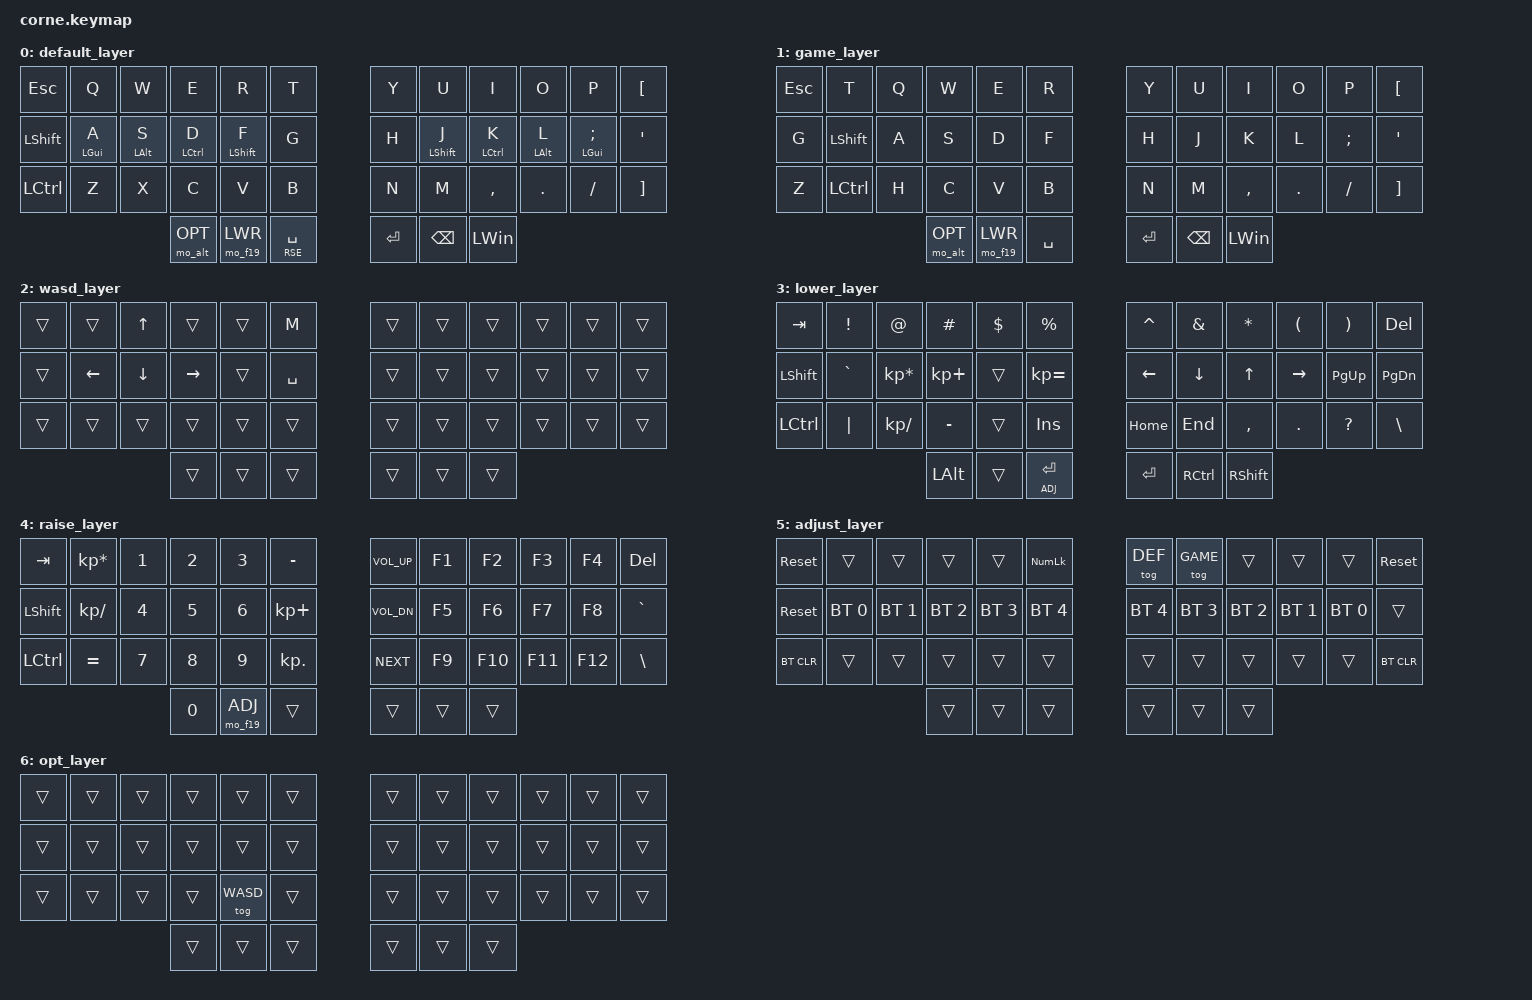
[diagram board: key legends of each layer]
/*
 * Copyright (c) 2020 The ZMK Contributors
 *
 * SPDX-License-Identifier: MIT
 */

#include <behaviors.dtsi>
#include <dt-bindings/zmk/keys.h>
#include <dt-bindings/zmk/bt.h>
#include <dt-bindings/zmk/rgb.h>

#define DEF 0
#define GAME 1
#define WASD 2
#define LWR 3
#define RSE 4
#define ADJ 5
#define OPT 6

&lt { quick_tap_ms = <200>; };
&mt { quick_tap_ms = <200>; };

/ {
    behaviors {
        hm: homerow_mods {
            compatible = "zmk,behavior-hold-tap";
            label = "HOMEROW_MODS";
            #binding-cells = <2>;
            tapping-term-ms = <200>;
            quick_tap_ms = <0>;
            flavor = "tap-preferred";
            bindings = <&kp>, <&kp>;
        };

        // Momentary layer that also holds F19 / F18 while the key is down,
        // so the web viewer (viewer/index.html) can see which thumb layer key is held.
        // Not F20: on Linux xkb maps it to XF86AudioMicMute, which the desktop grabs.
        mo_f19: mo_f19 {
            compatible = "zmk,behavior-macro-one-param";
            #binding-cells = <1>;
            wait-ms = <0>;
            tap-ms = <0>;
            bindings
                = <&macro_param_1to1>
                , <&macro_press &mo MACRO_PLACEHOLDER>
                , <&macro_press &kp F19>
                , <&macro_pause_for_release>
                , <&macro_release &kp F19>
                , <&macro_param_1to1>
                , <&macro_release &mo MACRO_PLACEHOLDER>
                ;
        };
        mo_f18: mo_f18 {
            compatible = "zmk,behavior-macro-one-param";
            #binding-cells = <1>;
            wait-ms = <0>;
            tap-ms = <0>;
            bindings
                = <&macro_param_1to1>
                , <&macro_press &mo MACRO_PLACEHOLDER>
                , <&macro_press &kp F18>
                , <&macro_pause_for_release>
                , <&macro_release &kp F18>
                , <&macro_param_1to1>
                , <&macro_release &mo MACRO_PLACEHOLDER>
                ;
        };

        // Thumb Opt: holds LALT and, while held, the OPT layer (there V toggles WASD)
        mo_alt: mo_alt {
            compatible = "zmk,behavior-macro-one-param";
            #binding-cells = <1>;
            wait-ms = <0>;
            tap-ms = <0>;
            bindings
                = <&macro_param_1to1>
                , <&macro_press &mo MACRO_PLACEHOLDER>
                , <&macro_press &kp LALT>
                , <&macro_pause_for_release>
                , <&macro_release &kp LALT>
                , <&macro_param_1to1>
                , <&macro_release &mo MACRO_PLACEHOLDER>
                ;
        };

        // Same as &lt (tap-preferred, 200 ms), but the hold side is &mo_f18
        lt_f18: layer_tap_f18 {
            compatible = "zmk,behavior-hold-tap";
            #binding-cells = <2>;
            tapping-term-ms = <200>;
            flavor = "tap-preferred";
            bindings = <&mo_f18>, <&kp>;
        };
    };
};

/ {
    combos {
        compatible = "zmk,combos";
        combo_F2 {
            timeout-ms = <50>;
            layers = <DEF GAME LWR RSE ADJ>;
            key-positions = <0 1>;
            bindings = <&kp F2>;
        };
        combo_ENTER {
            timeout-ms = <50>;
            layers = <DEF GAME LWR RSE ADJ>;
            key-positions = <3 4>;
            bindings = <&kp ENTER>;
        };
         combo_BS {
            timeout-ms = <50>;
            layers = <DEF GAME LWR RSE ADJ>;
            key-positions = <4 5>;
            bindings = <&kp BSPC>;
        };
        combo_Del {
            timeout-ms = <50>;
            layers = <DEF GAME LWR RSE ADJ>;
            key-positions = <28 29>;
            bindings = <&kp DEL>;
        };
        // Ctrl + Z + X + C → Cmd+Shift+4 (macOS area screenshot)
        combo_SCREENSHOT {
            timeout-ms = <80>;
            layers = <DEF GAME LWR RSE ADJ>;
            key-positions = <24 25 26 27>;
            bindings = <&kp LG(LS(N4))>;
        };
    };
};


/ {
        keymap {
                compatible = "zmk,keymap";

                default_layer {
// .-------------------------------------------------------.       .-----------------------------------------------------------.
// |  ESC  |    Q    |    W   |   E    |    R    |    T    |       |   Y   |    U    |    I    |    O    |     P    |     [    |
// |-------+---------+--------+--------+---------+---------|       |-------+---------+---------+---------+----------+----------|
// |  SHFT |    A    |    S   |   D    |    F    |    G    |       |   H   |    J    |    K    |    L    |     ;    |     '    |
// |-------+---------+--------+--------+---------+---------|       |-------+---------+---------+---------+----------+----------|
// |  CTRL |    Z    |    X   |   C    |    V    |    B    |       |   N   |    M    |    ,    |    .    |     /    |     ]    |
// '--------------------------+--------+---------+---------+       |-------+---------+---------+-------------------------------'
//                            |  ALT   |   LWR   | RSE/SPC |       |  RET  |   BKSP  |   GUI   |
//                            '--------+---------+---------'       '-------+---------+---------'
                        bindings = <
     &kp ESC    &kp Q       &kp W       &kp E        &kp R        &kp T          &kp Y      &kp U        &kp I        &kp O       &kp P          &kp LBKT
     &kp LSHFT  &hm LGUI A  &hm LALT S  &hm LCTRL D  &hm LSHFT F  &kp G          &kp H      &hm LSHFT J  &hm LCTRL K  &hm LALT L  &hm LGUI SEMI  &kp SQT
     &kp LCTRL  &kp Z       &kp X       &kp C        &kp V        &kp B          &kp N      &kp M        &kp COMMA    &kp DOT     &kp FSLH       &kp RBKT
                            &mo_alt OPT &mo_f19 LWR  &lt_f18 RSE SPACE               &kp ENTER  &kp BSPC     &kp LWIN
                        >;
                };


                game_layer {
// .-------------------------------------------------------.       .-----------------------------------------------------------.
// |  ESC  |    T    |    Q   |   W    |    E    |    R    |       |   Y   |    U    |    I    |    O    |     P    |     [    |
// |-------+---------+--------+--------+---------+---------|       |-------+---------+---------+---------+----------+----------|
// |   G   |   SHFT  |    A   |   S    |    D    |    F    |       |   H   |    J    |    K    |    L    |     ;    |     '    |
// |-------+---------+--------+--------+---------+---------|       |-------+---------+---------+---------+----------+----------|
// |   Z   |   CTRL  |    H   |   C    |    V    |    B    |       |   N   |    M    |    ,    |    .    |     /    |     ]    |
// '--------------------------+--------+---------+---------+       |-------+---------+---------+-------------------------------'
//                            |  ALT   |   LWR   |   SPC   |       |  RET  |   BKSP  |   GUI   |
//                            '--------+---------+---------'       '-------+---------+---------'
                        bindings = <
     &kp ESC  &kp T      &kp Q     &kp W    &kp E   &kp R          &kp Y      &kp U     &kp I      &kp O    &kp P     &kp LBKT
     &kp G    &kp LSHFT  &kp A     &kp S    &kp D   &kp F          &kp H      &kp J     &kp K      &kp L    &kp SEMI  &kp SQT
     &kp Z    &kp LCTRL  &kp H     &kp C    &kp V   &kp B          &kp N      &kp M     &kp COMMA  &kp DOT  &kp FSLH  &kp RBKT
                         &mo_alt OPT  &mo_f19 LWR  &kp SPACE              &kp ENTER  &kp BSPC  &kp LWIN
                        >;
                };


                wasd_layer {
// Opt+V toggles this layer: left-hand-only games.
// .-------------------------------------------------------.
// |       |         |   UP   |        |         |    M    |
// |-------+---------+--------+--------+---------+---------|
// |       |  LEFT   |  DOWN  | RIGHT  |         |  SPACE  |
// |-------+---------+--------+--------+---------+---------|
// |       |         |        |        |         |         |
// '--------------------------+--------+---------+---------+
                        bindings = <
     &trans  &trans     &kp UP     &trans     &trans  &kp M            &trans  &trans  &trans  &trans  &trans  &trans
     &trans  &kp LEFT   &kp DOWN   &kp RIGHT  &trans  &kp SPACE        &trans  &trans  &trans  &trans  &trans  &trans
     &trans  &trans     &trans     &trans     &trans  &trans           &trans  &trans  &trans  &trans  &trans  &trans
                                   &trans     &trans  &trans           &trans  &trans  &trans
                        >;
                };


                lower_layer {
// .----------------------------------------------------------.        .-----------------------------------------------------.
// |    TAB    |   !    |   @    |   #    |    $    |    %     |       |    ^   |    &   |    *    |    (   |    )   |  DEL  |
// |-----------+--------+--------+--------+---------+----------|       |--------+--------+---------+--------+--------+-------|
// |   SHFT    |    ~   |    *   |   +    |         |     =    |       |  left  |  down  |    up   |  right |   pu   |  pd   |
// |-----------+--------+--------+--------+---------+----------|       |--------+--------+---------+--------+--------+-------|
// |   CTRL    |    |   |    /   |   -    |         |  insert  |       |  home  |  end   |    ,    |    .   |    ?   |   \   |
// '-----------------------------+--------+---------+----------+       |--------+--------+---------+-------------------------'
//                               |  ALT   |         |ADJ_ENTER |       |   RET  |  CTRL  |  SHIFT  |
//                               '--------+---------+----------'       '--------+--------+---------'

                        bindings = <
   &kp TAB     &kp EXCLAMATION   &kp AT            &kp HASH     &kp DOLLAR  &kp PERCENT        &kp CARET   &kp AMPS     &kp STAR     &kp LPAR    &kp RPAR       &kp DEL
   &kp LSHFT   &kp GRAVE         &kp KP_MULTIPLY   &kp KP_PLUS  &trans      &kp KP_EQUAL       &kp LEFT    &kp DOWN     &kp UP       &kp RIGHT   &kp PG_UP      &kp PG_DN
   &kp LCTRL   &kp PIPE          &kp KP_DIVIDE     &kp MINUS    &trans      &kp INSERT         &kp HOME    &kp END      &kp COMMA    &kp PERIOD  &kp QUESTION   &kp BSLH
                                                   &kp LALT     &trans      &lt_f18 ADJ ENTER      &kp ENTER   &kp RCTRL    &kp RSHIFT
                        >;
                };


                  raise_layer {
// .------------------------------------------------------.       .-----------------------------------------------------.
// |   TAB   |    *   |    1   |    2   |    3   |    -   |       | vol up |   F1   |   F2   |   F3   |   F4   |   DEL  |
// |---------+--------+--------+--------+--------+--------|       |--------+--------+--------+--------+--------+--------|
// |   SHFT  |    /   |    4   |    5   |    6   |    +   |       | vol dn |   F5   |   F6   |   F7   |   F8   |    ~   |
// |---------+--------+--------+--------+--------+--------|       |--------+--------+--------+--------+--------+--------|
// |   CTRL  |    =   |    7   |    8   |    9   |    .   |       |  next  |   F9   |   F10  |   F11  |   F12  |    \   |
// '---------------------------+--------+--------+--------+       |-------+---------+--------+--------------------------'
//                             |    0   |   ADJ  |        |       |        |        |        |
//                             '--------+--------+--------'       '--------+--------+--------'
                        bindings = <
   &kp TAB    &kp KP_ASTERISK &kp N1 &kp N2 &kp N3 &kp MINUS           &kp C_VOL_UP &kp F1  &kp F2  &kp F3  &kp F4  &kp DEL
   &kp LSHFT  &kp KP_SLASH    &kp N4 &kp N5 &kp N6 &kp KP_PLUS         &kp C_VOL_DN &kp F5  &kp F6  &kp F7  &kp F8  &kp GRAVE
   &kp LCTRL  &kp EQUAL       &kp N7 &kp N8 &kp N9 &kp KP_DOT          &kp C_NEXT &kp F9  &kp F10 &kp F11 &kp F12 &kp BSLH
                              &kp N0        &mo_f19 ADJ   &trans           &trans &trans  &trans
                        >;
                };


                adjust_layer {
// .--------------------------------------------------------.       .------------------------------------------------------.
// |  reset  |        |        |        |         |  KP_NUM |       |  DEF   |  GAME  |        |        |        |  reset  |
// |---------+--------+--------+--------+---------+---------|       |--------+--------+--------+--------+--------+---------|
// |         |  BT1   |  BT2   |  BT3   |  BT4    |  BT5    |       |  BT5   |  BT4   |  BT3   |  BT2   |  BT1   |         |
// |---------+--------+--------+--------+---------+---------|       |--------+--------+--------+--------+--------+---------|
// |  BTCLR  |        |        |        |         |         |       |        |        |        |        |        |  BTCLR  |
// '---------------------------+--------+---------+---------+       |--------+--------+--------+---------------------------'
//                             |        |         |         |       |        |        |        |
//                             '--------+---------+---------'       '--------+--------+--------'

                        bindings = <
   &sys_reset      &trans        &trans        &trans        &trans          &kp KP_NUM            &tog DEF      &tog GAME        &trans        &trans        &trans        &sys_reset
   &sys_reset      &bt BT_SEL 0  &bt BT_SEL 1  &bt BT_SEL 2  &bt BT_SEL 3    &bt BT_SEL 4      &bt BT_SEL 4  &bt BT_SEL 3  &bt BT_SEL 2  &bt BT_SEL 1  &bt BT_SEL 0  &trans
   &bt BT_CLR  &trans        &trans        &trans        &trans          &trans            &trans        &trans        &trans        &trans        &trans        &bt BT_CLR
                             &trans        &trans        &trans                            &trans        &trans        &trans
                        >;
                };

                opt_layer {
// Active while thumb Opt is held. Everything falls through except V = toggle WASD.
                        bindings = <
     &trans  &trans  &trans  &trans  &trans    &trans          &trans  &trans  &trans  &trans  &trans  &trans
     &trans  &trans  &trans  &trans  &trans    &trans          &trans  &trans  &trans  &trans  &trans  &trans
     &trans  &trans  &trans  &trans  &tog WASD &trans          &trans  &trans  &trans  &trans  &trans  &trans
                             &trans  &trans    &trans          &trans  &trans  &trans
                        >;
                };
         };
};
